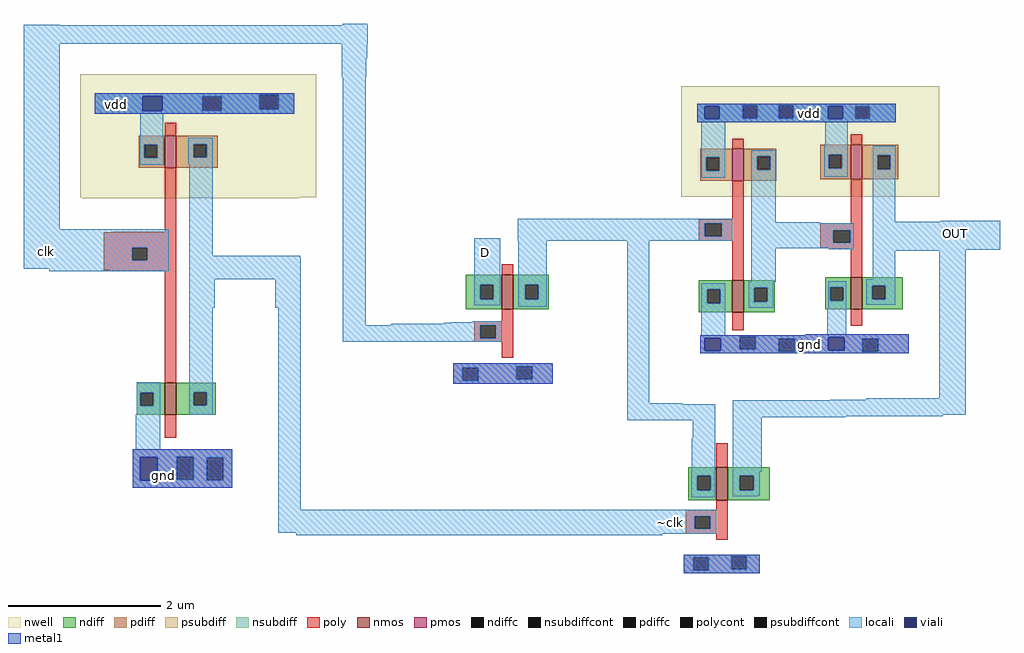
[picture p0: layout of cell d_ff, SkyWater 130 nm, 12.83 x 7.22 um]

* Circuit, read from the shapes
.subckt d_ff D OUT clk gnd vdd ~clk
XM1 ~clk clk gnd gnd sky130_fd_pr__nfet_01v8 w=0.42 l=0.15
XM2 n1 clk D gnd sky130_fd_pr__nfet_01v8 w=0.45 l=0.15
XM3 OUT ~clk n1 gnd sky130_fd_pr__nfet_01v8 w=0.43 l=0.15
XM4 n2 n1 gnd gnd sky130_fd_pr__nfet_01v8 w=0.42 l=0.15
XM5 OUT n2 gnd gnd sky130_fd_pr__nfet_01v8 w=0.42 l=0.15
XM6 ~clk clk vdd vdd sky130_fd_pr__pfet_01v8 w=0.42 l=0.15
XM7 n2 n1 vdd vdd sky130_fd_pr__pfet_01v8 w=0.42 l=0.15
XM8 OUT n2 vdd vdd sky130_fd_pr__pfet_01v8 w=0.45 l=0.15
.ends

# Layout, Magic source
magic
tech sky130A
<< nwell >>
rect -905 -13 -595 149
rect -115 -12 224 133
rect -903 -14 -617 -13
<< nmos >>
rect -351 -160 -336 -115
rect -48 -164 -33 -122
rect 108 -160 123 -118
rect -794 -299 -779 -257
rect -69 -411 -54 -368
<< pmos >>
rect -794 26 -779 68
rect -48 9 -33 51
rect 108 11 123 56
<< ndiff >>
rect -398 -128 -351 -115
rect -398 -147 -379 -128
rect -362 -147 -351 -128
rect -398 -160 -351 -147
rect -336 -128 -289 -115
rect -336 -147 -320 -128
rect -303 -147 -289 -128
rect -336 -160 -289 -147
rect -92 -134 -48 -122
rect -92 -152 -81 -134
rect -64 -152 -48 -134
rect -92 -164 -48 -152
rect -33 -132 8 -122
rect -33 -150 -19 -132
rect -2 -150 8 -132
rect -33 -164 8 -150
rect 74 -131 108 -118
rect 74 -149 81 -131
rect 98 -149 108 -131
rect 74 -160 108 -149
rect 123 -129 176 -118
rect 123 -147 136 -129
rect 153 -147 176 -129
rect 123 -160 176 -147
rect -831 -270 -794 -257
rect -831 -287 -826 -270
rect -809 -287 -794 -270
rect -831 -299 -794 -287
rect -779 -269 -727 -257
rect -779 -286 -756 -269
rect -739 -286 -727 -269
rect -779 -299 -727 -286
rect -106 -379 -69 -368
rect -106 -398 -94 -379
rect -76 -398 -69 -379
rect -106 -411 -69 -398
rect -54 -379 1 -368
rect -54 -398 -38 -379
rect -20 -398 1 -379
rect -54 -411 1 -398
<< pdiff >>
rect -828 56 -794 68
rect -828 39 -821 56
rect -804 39 -794 56
rect -828 26 -794 39
rect -779 57 -724 68
rect -779 40 -756 57
rect -739 40 -724 57
rect -779 26 -724 40
rect -90 40 -48 51
rect -90 22 -82 40
rect -65 22 -48 40
rect -90 9 -48 22
rect -33 41 10 51
rect -33 23 -15 41
rect 2 23 10 41
rect -33 9 10 23
rect 68 43 108 56
rect 68 25 79 43
rect 96 25 108 43
rect 68 11 108 25
rect 123 42 170 56
rect 123 24 143 42
rect 160 24 170 42
rect 123 11 170 24
<< ndiffc >>
rect -379 -147 -362 -128
rect -320 -147 -303 -128
rect -81 -152 -64 -134
rect -19 -150 -2 -132
rect 81 -149 98 -131
rect 136 -147 153 -129
rect -826 -287 -809 -270
rect -756 -286 -739 -269
rect -94 -398 -76 -379
rect -38 -398 -20 -379
<< pdiffc >>
rect -821 39 -804 56
rect -756 40 -739 57
rect -82 22 -65 40
rect -15 23 2 41
rect 79 25 96 43
rect 143 24 160 42
<< psubdiff >>
rect 48 -194 184 -193
rect -90 -196 184 -194
rect -90 -213 -38 -196
rect -17 -199 184 -196
rect -17 -213 13 -199
rect -90 -216 13 -213
rect 34 -216 123 -199
rect 144 -216 184 -199
rect -90 -218 184 -216
rect -415 -235 -284 -231
rect -415 -237 -332 -235
rect -415 -254 -403 -237
rect -382 -252 -332 -237
rect -311 -252 -284 -235
rect -382 -254 -284 -252
rect -415 -258 -284 -254
rect -836 -354 -705 -344
rect -836 -384 -778 -354
rect -756 -355 -705 -354
rect -756 -384 -739 -355
rect -836 -385 -739 -384
rect -717 -385 -705 -355
rect -836 -395 -705 -385
rect -112 -485 -12 -483
rect -112 -486 -49 -485
rect -112 -503 -99 -486
rect -79 -502 -49 -486
rect -29 -502 -12 -485
rect -79 -503 -12 -502
rect -112 -507 -12 -503
<< nsubdiff >>
rect -886 122 -624 124
rect -886 120 -670 122
rect -886 101 -745 120
rect -719 103 -670 120
rect -644 103 -624 122
rect -719 101 -624 103
rect -886 97 -624 101
rect -94 108 167 110
rect -94 91 -34 108
rect -15 91 13 108
rect 32 107 167 108
rect 32 91 114 107
rect -94 90 114 91
rect 133 90 167 107
rect -94 86 167 90
<< psubdiffcont >>
rect -38 -213 -17 -196
rect 13 -216 34 -199
rect 123 -216 144 -199
rect -403 -254 -382 -237
rect -332 -252 -311 -235
rect -778 -384 -756 -354
rect -739 -385 -717 -355
rect -99 -503 -79 -486
rect -49 -502 -29 -485
<< nsubdiffcont >>
rect -745 101 -719 120
rect -670 103 -644 122
rect -34 91 -15 108
rect 13 91 32 108
rect 114 90 133 107
<< poly >>
rect -794 68 -779 85
rect -48 51 -33 64
rect 108 56 123 70
rect -794 -58 -779 26
rect -48 -42 -33 9
rect -862 -59 -779 -58
rect -874 -79 -779 -59
rect -92 -47 -33 -42
rect 108 -47 123 11
rect -92 -64 -84 -47
rect -62 -64 -33 -47
rect -92 -70 -33 -64
rect -874 -96 -837 -79
rect -817 -96 -779 -79
rect -874 -109 -779 -96
rect -865 -110 -779 -109
rect -794 -257 -779 -110
rect -351 -115 -336 -101
rect -48 -122 -33 -70
rect 68 -56 123 -47
rect 68 -73 85 -56
rect 107 -73 123 -56
rect 68 -80 123 -73
rect 79 -81 123 -80
rect 108 -118 123 -81
rect -351 -176 -336 -160
rect -387 -181 -336 -176
rect -387 -198 -379 -181
rect -359 -198 -336 -181
rect -48 -188 -33 -164
rect 108 -182 123 -160
rect -387 -203 -336 -198
rect -351 -224 -336 -203
rect -794 -329 -779 -299
rect -69 -368 -54 -336
rect -69 -424 -54 -411
rect -109 -432 -54 -424
rect -109 -449 -97 -432
rect -77 -449 -54 -432
rect -109 -455 -54 -449
rect -69 -463 -54 -455
<< polycont >>
rect -84 -64 -62 -47
rect -837 -96 -817 -79
rect 85 -73 107 -56
rect -379 -198 -359 -181
rect -97 -449 -77 -432
<< locali >>
rect -979 213 -932 214
rect -560 213 -528 215
rect -979 189 -527 213
rect -979 -55 -932 189
rect -561 170 -528 189
rect -561 145 -529 170
rect -886 122 -624 124
rect -886 120 -670 122
rect -886 101 -823 120
rect -797 101 -745 120
rect -719 103 -670 120
rect -644 103 -624 122
rect -719 101 -624 103
rect -886 97 -624 101
rect -826 64 -796 97
rect -827 56 -795 64
rect -827 39 -821 56
rect -804 39 -795 56
rect -827 30 -795 39
rect -763 57 -731 65
rect -763 40 -756 57
rect -739 40 -731 57
rect -763 31 -731 40
rect -979 -79 -789 -55
rect -979 -96 -837 -79
rect -817 -96 -789 -79
rect -979 -107 -789 -96
rect -946 -110 -789 -107
rect -762 -90 -731 31
rect -762 -92 -616 -90
rect -762 -121 -615 -92
rect -762 -158 -728 -121
rect -649 -158 -615 -121
rect -831 -270 -800 -256
rect -831 -287 -826 -270
rect -809 -287 -800 -270
rect -831 -298 -800 -287
rect -832 -344 -800 -298
rect -762 -269 -731 -158
rect -762 -286 -756 -269
rect -739 -286 -731 -269
rect -762 -299 -731 -286
rect -836 -354 -705 -344
rect -836 -355 -778 -354
rect -836 -385 -826 -355
rect -804 -384 -778 -355
rect -756 -355 -705 -354
rect -756 -384 -739 -355
rect -804 -385 -739 -384
rect -717 -385 -705 -355
rect -836 -395 -705 -385
rect -645 -424 -615 -158
rect -560 -181 -530 145
rect -94 108 167 110
rect -94 107 -34 108
rect -94 90 -84 107
rect -65 91 -34 107
rect -15 91 13 108
rect 32 107 167 108
rect 32 91 78 107
rect -65 90 78 91
rect 97 90 114 107
rect 133 90 167 107
rect -94 86 167 90
rect -89 40 -57 86
rect 74 56 104 86
rect -89 22 -82 40
rect -65 22 -57 40
rect -89 13 -57 22
rect -23 41 9 49
rect -23 23 -15 41
rect 2 23 9 41
rect -330 -47 -48 -41
rect -330 -64 -84 -47
rect -62 -64 -48 -47
rect -387 -128 -353 -67
rect -330 -70 -48 -64
rect -23 -46 9 23
rect 73 43 104 56
rect 73 25 79 43
rect 96 25 104 43
rect 73 14 104 25
rect 137 42 167 55
rect 137 24 143 42
rect 160 24 167 42
rect 137 14 167 24
rect 137 -45 166 14
rect 226 -45 304 -44
rect -23 -47 68 -46
rect -23 -56 112 -47
rect -387 -147 -379 -128
rect -362 -147 -353 -128
rect -387 -155 -353 -147
rect -329 -128 -292 -70
rect -329 -147 -320 -128
rect -303 -147 -292 -128
rect -329 -157 -292 -147
rect -389 -177 -351 -176
rect -418 -178 -351 -177
rect -427 -179 -351 -178
rect -496 -181 -351 -179
rect -560 -198 -379 -181
rect -359 -198 -351 -181
rect -560 -203 -351 -198
rect -415 -235 -284 -231
rect -415 -237 -332 -235
rect -415 -254 -403 -237
rect -382 -252 -332 -237
rect -311 -252 -284 -235
rect -382 -254 -284 -252
rect -415 -258 -284 -254
rect -186 -284 -157 -70
rect -23 -73 85 -56
rect 107 -73 112 -56
rect -23 -80 112 -73
rect -23 -124 9 -80
rect 79 -81 111 -80
rect 137 -82 304 -45
rect 137 -83 259 -82
rect 137 -121 166 -83
rect -89 -134 -57 -126
rect -89 -152 -81 -134
rect -64 -152 -57 -134
rect -89 -194 -57 -152
rect -26 -132 6 -124
rect -26 -150 -19 -132
rect -2 -150 6 -132
rect -26 -158 6 -150
rect 78 -131 102 -123
rect 78 -149 81 -131
rect 98 -149 102 -131
rect 78 -159 102 -149
rect 128 -129 166 -121
rect 128 -147 136 -129
rect 153 -147 166 -129
rect 128 -154 166 -147
rect 77 -193 102 -159
rect 48 -194 184 -193
rect -90 -196 184 -194
rect -90 -198 -38 -196
rect -90 -215 -84 -198
rect -63 -213 -38 -198
rect -17 -197 184 -196
rect -17 -199 78 -197
rect -17 -213 13 -199
rect -63 -215 13 -213
rect -90 -216 13 -215
rect 34 -214 78 -199
rect 99 -199 184 -197
rect 99 -214 123 -199
rect 34 -216 123 -214
rect 144 -216 184 -199
rect -90 -218 184 -216
rect 224 -277 259 -83
rect 128 -279 259 -277
rect 81 -280 259 -279
rect -186 -285 -113 -284
rect -186 -306 -70 -285
rect -100 -330 -70 -306
rect -101 -371 -70 -330
rect -47 -299 259 -280
rect -47 -301 229 -299
rect -47 -302 101 -301
rect -102 -379 -71 -371
rect -102 -398 -94 -379
rect -76 -398 -71 -379
rect -102 -407 -71 -398
rect -47 -374 -9 -302
rect -47 -379 -12 -374
rect -47 -398 -38 -379
rect -20 -398 -12 -379
rect -47 -405 -12 -398
rect -47 -406 -15 -405
rect -645 -432 -69 -424
rect -645 -449 -97 -432
rect -77 -449 -69 -432
rect -645 -454 -69 -449
rect -621 -455 -69 -454
rect -621 -457 -140 -455
rect -112 -485 -12 -483
rect -112 -486 -49 -485
rect -112 -503 -99 -486
rect -79 -502 -49 -486
rect -29 -502 -12 -485
rect -79 -503 -12 -502
rect -112 -507 -12 -503
<< viali >>
rect -823 101 -797 120
rect -826 -385 -804 -355
rect -84 90 -65 107
rect 78 90 97 107
rect -84 -215 -63 -198
rect 78 -214 99 -197
<< metal1 >>
rect -886 120 -624 124
rect -886 101 -823 120
rect -797 101 -624 120
rect -886 97 -624 101
rect -94 107 167 110
rect -94 90 -84 107
rect -65 90 78 107
rect 97 90 167 107
rect -94 86 167 90
rect 48 -194 184 -193
rect -90 -197 184 -194
rect -90 -198 78 -197
rect -90 -215 -84 -198
rect -63 -214 78 -198
rect 99 -214 184 -197
rect -63 -215 184 -214
rect -90 -218 184 -215
rect -415 -258 -284 -231
rect -836 -355 -705 -344
rect -836 -385 -826 -355
rect -804 -385 -705 -355
rect -836 -395 -705 -385
rect -112 -507 -12 -483
<< labels >>
flabel locali -372 -86 -372 -86 0 FreeSans 160 0 0 0 D
flabel locali -129 -441 -129 -441 0 FreeSans 80 0 0 0 ~clk
flabel locali 246 -61 246 -61 0 FreeSans 160 0 0 0 OUT
flabel metal1 54 97 54 97 0 FreeSans 80 0 0 0 vdd
flabel metal1 54 -206 54 -206 0 FreeSans 80 0 0 0 gnd
flabel locali -949 -84 -949 -84 0 FreeSans 160 0 0 0 clk
flabel metal1 -858 109 -858 109 0 FreeSans 160 0 0 0 vdd
flabel metal1 -795 -379 -795 -379 0 FreeSans 80 0 0 0 gnd
<< end >>
